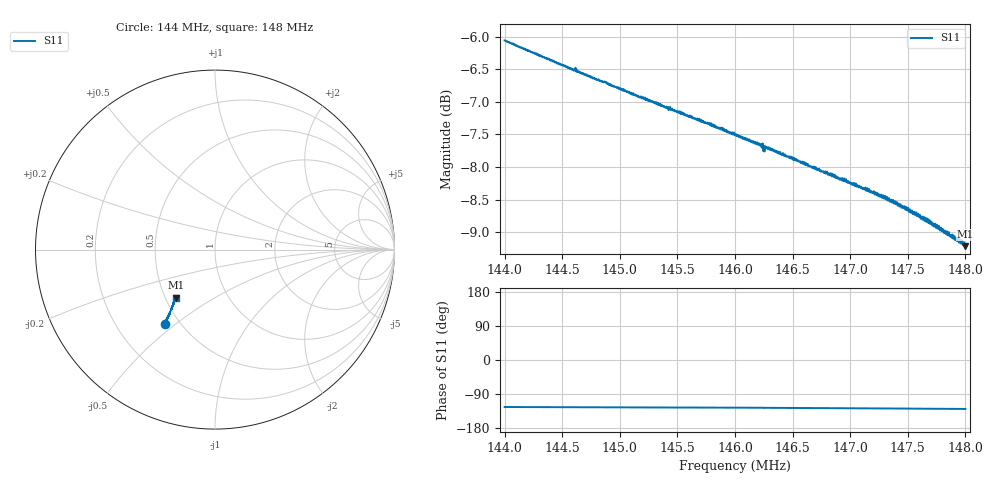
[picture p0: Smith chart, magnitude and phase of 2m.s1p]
! Calibrated averaged scanner-service zoom
# Hz S RI R 50
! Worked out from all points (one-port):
!   1001 points, 144 MHz to 148 MHz, reference 50 ohm
!   lowest |S11| = -9.2 dB at 148 MHz (marker M1), VSWR 2.06, Z = 28.3 - j17.3 ohm
!   |S11| at or under -10 dB: nowhere
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1.44e8  -0.2785 -0.4126
1.445e8  -0.2703 -0.3921
1.44588e8  -0.2692 -0.3888
1.44596e8  -0.2682 -0.3898
1.44628e8  -0.2671 -0.3899
1.44652e8  -0.268 -0.3861
1.44772e8  -0.2662 -0.3821
1.44868e8  -0.2643 -0.3802
1.44924e8  -0.2633 -0.3768
1.45e8  -0.2616 -0.3757
1.455e8  -0.2544 -0.3577
1.45772e8  -0.2506 -0.3496
1.46e8  -0.2475 -0.341
1.46208e8  -0.2447 -0.3354
1.46264e8  -0.2436 -0.333
1.4628e8  -0.2432 -0.3324
1.465e8  -0.2409 -0.3256
1.46724e8  -0.2375 -0.3175
1.47e8  -0.2337 -0.3088
1.4732e8  -0.2313 -0.2985
1.475e8  -0.2286 -0.2899
1.47588e8  -0.2278 -0.2874
1.47664e8  -0.2255 -0.2825
1.47688e8  -0.2262 -0.2833
1.47864e8  -0.2216 -0.2739
1.47904e8  -0.2219 -0.2738
1.47996e8  -0.2184 -0.2686
1.48e8  -0.2189 -0.2688
